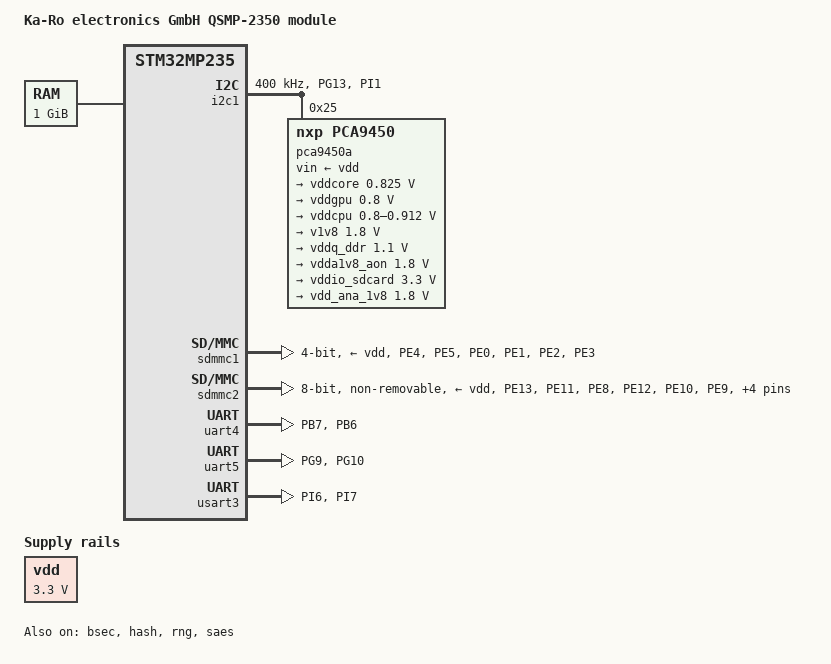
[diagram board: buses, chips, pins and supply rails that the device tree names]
// SPDX-License-Identifier: (GPL-2.0-or-later OR BSD-3-Clause)
/*
 * Copyright (C) 2025, STMicroelectronics - All Rights Reserved
 * Author: STM32CubeMX code generation for STMicroelectronics.
 */

/* For more information on Device Tree configuration, please refer to
 * https://wiki.st.com/stm32mpu/wiki/Category:Device_tree_configuration
 */

/dts-v1/;

#include <dt-bindings/pinctrl/stm32-pinfunc.h>
#include <dt-bindings/clock/stm32mp25-clksrc.h>

#include "stm32mp235.dtsi"
#include "stm32mp23xc.dtsi"
#include "stm32mp235c-qsmp-2350-rcc.dtsi"
#include "stm32mp235c-qsmp-ddr.h"
#include "stm32mp25xxal-pinctrl.dtsi"
#include "stm32mp25-ddr.dtsi"

/ {
	model = "Ka-Ro electronics GmbH QSMP-2350 module";
	compatible = "karo,stm32mp235c-qsmp-2350", "st,stm32mp235";

	aliases {
		i2c0 = &i2c1;
		serial0 = &uart4;
		serial1 = &usart3;
		serial2 = &uart5;
	};

	chosen {
		stdout-path = "serial0:115200n8";
	};

	memory@80000000 {
		device_type = "memory";
		reg = <0x0 0x80000000 0x0 0x40000000>;
	};

	vdd: vdd {
		compatible = "regulator-fixed";
		regulator-name = "vdd";
		regulator-min-microvolt = <3300000>;
		regulator-max-microvolt = <3300000>;
		regulator-always-on;
	};

}; /*root*/

&bsec {
	status = "okay";
};

&ddr {
	vdd1-supply = <&v1v8>;
	vdd2-supply = <&vddq_ddr>;
	vddq-supply = <&vddq_ddr>;
};

&hash {
	status = "okay";
};

&i2c1 {
	pinctrl-names = "default";
	pinctrl-0 = <&i2c1_pins>;
	i2c-scl-rising-time-ns = <185>;
	i2c-scl-falling-time-ns = <20>;
	clock-frequency = <400000>;
	status = "okay";

	pca9450a: pmic@25 {
		compatible = "nxp,pca9450";
		reg = <0x25>;
		vin-supply = <&vdd>;
		status = "okay";

		regulators {
			vddcore: buck1 {
				regulator-name = "vddcore";
				regulator-min-microvolt = <825000>;
				regulator-max-microvolt = <825000>;
				regulator-always-on;
			};

			vddgpu: buck2 {
				regulator-name = "vddgpu";
				regulator-min-microvolt = <800000>;
				regulator-max-microvolt = <800000>;
			};

			vddcpu: buck3 {
				regulator-name = "vddcpu";
				regulator-min-microvolt = <800000>;
				regulator-max-microvolt = <912500>;
				regulator-always-on;
			};

			v1v8: buck5 {
				regulator-name = "v1v8";
				regulator-min-microvolt = <1800000>;
				regulator-max-microvolt = <1800000>;
				regulator-always-on;
			};

			vddq_ddr: buck6 {
				regulator-name = "vddq_ddr";
				regulator-min-microvolt = <1100000>;
				regulator-max-microvolt = <1100000>;
				regulator-always-on;
			};

			vdda1v8_aon: ldo1 {
				regulator-name = "vdda1v8_aon";
				regulator-min-microvolt = <1800000>;
				regulator-max-microvolt = <1800000>;
				regulator-always-on;
			};

			vddio_sdcard: ldo3 {
				regulator-name = "vddio_sdcard";
				regulator-min-microvolt = <3300000>;
				regulator-max-microvolt = <3300000>;
				regulator-always-on;
			};

			vdd_ana_1v8: ldo4 {
				regulator-name = "vdd_ana_1v8";
				regulator-min-microvolt = <1800000>;
				regulator-max-microvolt = <1800000>;
				regulator-always-on;
			};
		};
	};
};

&pwr {
	st,lpcfg-d2 = <0>;
};

&rcc {
	status = "okay";
};

&rng {
	status = "okay";
};

&saes {
	status = "okay";
};

&sdmmc1 {
	pinctrl-names = "default";
	pinctrl-0 = <&sdmmc1_pins>;
	vmmc-supply = <&vdd>;
	vqmmc-supply = <&vddio1>;
	st,neg-edge;
	bus-width = <4>;
	status = "okay";
};

&sdmmc2 {
	pinctrl-names = "default";
	pinctrl-0 = <&sdmmc2_pins>;
	vmmc-supply = <&vdd>;
	vqmmc-supply = <&vddio2>;
	non-removable;
	no-sd;
	no-sdio;
	st,neg-edge;
	bus-width = <8>;
	status = "okay";
};

&uart4 {
	pinctrl-names = "default";
	pinctrl-0 = <&uart4_pins>;
	status = "okay";
};

&uart5 {
	pinctrl-names = "default";
	pinctrl-0 = <&uart5_pins>;
	status = "okay";
};

&usart3 {
	pinctrl-names = "default";
	pinctrl-0 = <&usart3_pins>;
	status = "okay";
};

&vddio1 {
	vddio1-supply = <&vddio_sdcard>;
};

&vddio2 {
	vddio2-supply = <&v1v8>;
};

&vddio3 {
	vddio3-supply = <&vdd>;
};

&vddio4 {
	vddio4-supply = <&vdd>;
};

&vddio {
	vdd-supply = <&vdd>;
};

&pinctrl {
	i2c1_pins: i2c1-pins {
		pins1 {
			pinmux = <STM32_PINMUX('G', 13, AF9)>, /* I2C1_SCL */
				 <STM32_PINMUX('I', 1, AF9)>; /* I2C1_SDA */
			bias-disable;
			drive-open-drain;
			slew-rate = <0>;
		};
	};

	sdmmc1_pins: sdmmc1-pins {
		pins1 {
			pinmux = <
				  STM32_PINMUX('E', 4, AF10) /* SDMMC1_D0 */
				  STM32_PINMUX('E', 5, AF10) /* SDMMC1_D1 */
				  STM32_PINMUX('E', 0, AF10) /* SDMMC1_D2 */
				  STM32_PINMUX('E', 1, AF10) /* SDMMC1_D3 */
				  STM32_PINMUX('E', 2, AF10) /* SDMMC1_CMD */
			>;
			bias-disable;
			drive-push-pull;
			slew-rate = <2>;
		};

		pins2 {
			pinmux = <STM32_PINMUX('E', 3, AF10)>; /* SDMMC1_CK */
			bias-disable;
			drive-push-pull;
			slew-rate = <3>;
		};
	};

	sdmmc2_pins: sdmmc2-pins {
		pins1 {
			pinmux = <
				  STM32_PINMUX('E', 13, AF12)	/* SDMMC2_D0 */
				  STM32_PINMUX('E', 11, AF12)	/* SDMMC2_D1 */
				  STM32_PINMUX('E', 8, AF12)	/* SDMMC2_D2 */
				  STM32_PINMUX('E', 12, AF12)	/* SDMMC2_D3 */
				  STM32_PINMUX('E', 10, AF12)	/* SDMMC2_D4 */
				  STM32_PINMUX('E', 9, AF12)	/* SDMMC2_D5 */
				  STM32_PINMUX('E', 6, AF12)	/* SDMMC2_D6 */
				  STM32_PINMUX('E', 7, AF12)	/* SDMMC2_D7 */
				  STM32_PINMUX('E', 15, AF12)	/* SDMMC2_CMD */
			>;
			bias-disable;
			drive-push-pull;
			slew-rate = <1>;
		};

		pins2 {
			pinmux = <STM32_PINMUX('E', 14, AF12)>; /* SDMMC2_CK */
			bias-disable;
			drive-push-pull;
			slew-rate = <3>;
		};
	};

	uart4_pins: uart4-pins {
		pins1 {
			pinmux = <STM32_PINMUX('B', 7, AF3)>; /* UART4_TX */
			bias-disable;
			drive-push-pull;
			slew-rate = <0>;
		};

		pins2 {
			pinmux = <STM32_PINMUX('B', 6, AF3)>; /* UART4_RX */
			bias-pull-up;
		};
	};

	uart5_pins: uart5-pins {
		pins1 {
			pinmux = <STM32_PINMUX('G', 9, AF5)>; /* UART5_TX */
			bias-disable;
			drive-push-pull;
			slew-rate = <0>;
		};

		pins2 {
			pinmux = <STM32_PINMUX('G', 10, AF5)>; /* UART5_RX */
			bias-pull-up;
		};
	};

	uart5_rtscts_pins: uart5-rtscts-pins {
		pins1 {
			pinmux = <STM32_PINMUX('G', 8, AF5)>; /* UART5_RTS */
			bias-disable;
			drive-push-pull;
			slew-rate = <0>;
		};

		pins2 {
			pinmux = <STM32_PINMUX('G', 1, AF5)>; /* UART5_CTS_NSS */
			bias-pull-up;
		};
	};

	usart3_pins: usart3-pins {
		pins1 {
			pinmux = <STM32_PINMUX('I', 6, AF6)>; /* USART3_TX */
			bias-disable;
			drive-push-pull;
			slew-rate = <0>;
		};

		pins2 {
			pinmux = <STM32_PINMUX('I', 7, AF6)>; /* USART3_RX */
			bias-pull-up;
		};
	};
};
